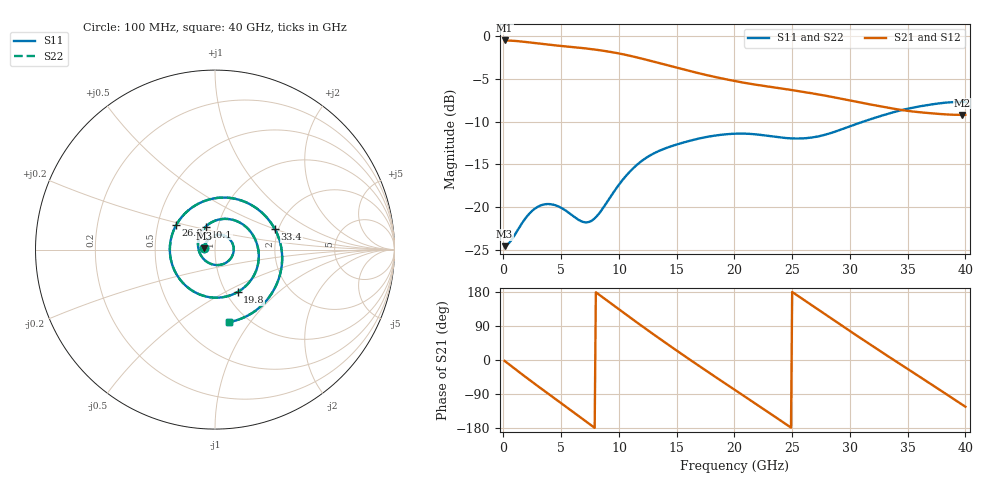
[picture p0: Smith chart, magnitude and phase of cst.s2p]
! D_s8_stitch_2p0: L1 (ref L2) → L8 (ref L7), one GND via at 2 mm
! stackup: 8-layer 1.6 mm FR-4 (generic)
! ports: 1, 2
! CST Studio Suite 2025.5 Release from 2025-05-30, time domain (FIT, hexahedral, PBA), 244296 mesh cells, 46 s
! mesh: {'lpw': 20, 'lpb': 20, 'minstep': 0.0, 'ratio': 20}; ports: port 1 (face); port 2 (face)
! interpolated from CST's 1001 samples to the case grid
# Hz S RI R 50
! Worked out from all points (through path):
!   400 points, 100 MHz to 40 GHz, reference 50 ohm
!   highest |S21| = -0.55 dB at 100 MHz (marker M1); lowest = -9.2 dB at 39.7 GHz (marker M2)
!   group delay of S21, straight-line fit = 58.2 ps
!   lowest |S11| = -24.5 dB at 100 MHz (marker M3), VSWR 1.13, Z = 44.4 + j0.623 ohm
!   |S11| at or under -10 dB: start of sweep to 31.18 GHz
!   |S22| runs from -24.5 to -7.7 dB; largest |S21 - S12| = 2.2e-07
!   S11 on the Smith chart (normalised r, x): 100 MHz: 0.89, +0.01; 10.1 GHz: 0.87, +0.23; 19.8 GHz: 1.13, -0.58; 26.8 GHz: 0.62, +0.18; 33.4 GHz: 1.91, +0.50; 40 GHz: 0.82, -0.80
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1e8  -0.0589 0.00699  0.9381 -0.0387  0.9381 -0.0387  -0.0589 0.00699
1.9e9  0.0236 0.0828  0.6569 -0.6443  0.6569 -0.6443  0.0236 0.0828
3.4e9  0.0981 0.0329  0.18 -0.8761  0.18 -0.8761  0.0981 0.0329
5e9  0.081 -0.0574  -0.3555 -0.7966  -0.3555 -0.7966  0.081 -0.0574
6.8e9  -0.0272 -0.078  -0.7649 -0.3674  -0.7649 -0.3674  -0.0272 -0.078
8.4e9  -0.0936 0.0112  -0.8091 0.1469  -0.8091 0.1469  -0.0936 0.0112
1.01e10  -0.052 0.128  -0.521 0.5889  -0.521 0.5889  -0.052 0.128
1.17e10  0.0554 0.1713  -0.077 0.7398  -0.077 0.7398  0.0554 0.1713
1.34e10  0.1652 0.1329  0.3586 0.5961  0.3586 0.5961  0.1653 0.1329
1.49e10  0.2239 0.0569  0.5836 0.297  0.5836 0.297  0.2239 0.0569
1.63e10  0.244 -0.0291  0.6186 -0.0257  0.6186 -0.0257  0.244 -0.0292
1.82e10  0.2119 -0.1525  0.4323 -0.3827  0.4323 -0.3827  0.2119 -0.1525
1.98e10  0.1262 -0.2365  0.1496 -0.5276  0.1496 -0.5276  0.1262 -0.2365
2.01e10  0.1044 -0.2474  0.0918 -0.5357  0.0918 -0.5357  0.1044 -0.2475
2.37e10  -0.1935 -0.1685  -0.4453 -0.2205  -0.4453 -0.2205  -0.1935 -0.1684
2.67e10  -0.2209 0.1275  -0.3756 0.2689  -0.3756 0.2689  -0.2209 0.1276
2.68e10  -0.2159 0.1369  -0.3647 0.2815  -0.3647 0.2815  -0.2159 0.137
2.97e10  0.0328 0.2896  0.0549 0.4196  0.0549 0.4196  0.0328 0.2896
3.34e10  0.3332 0.1149  0.3759 0.0527  0.3759 0.0527  0.3332 0.1148
3.68e10  0.3379 -0.2049  0.1811 -0.3045  0.1811 -0.3045  0.3379 -0.205
3.97e10  0.109 -0.3971  -0.1581 -0.3075  -0.1581 -0.3075  0.1089 -0.3971
4e10  0.0761 -0.4047  -0.1899 -0.289  -0.1899 -0.289  0.076 -0.4048
